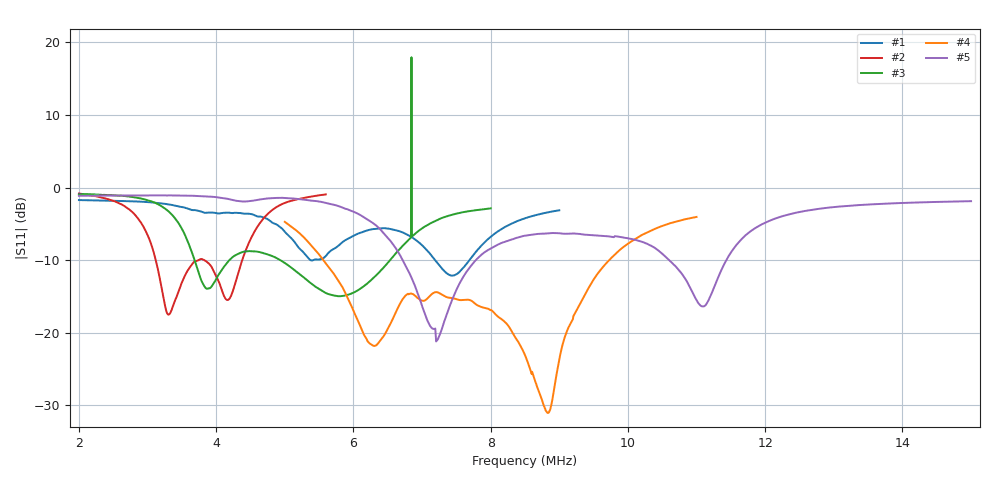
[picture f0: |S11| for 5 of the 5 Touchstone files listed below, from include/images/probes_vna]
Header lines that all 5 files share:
# Hz S RI R 50
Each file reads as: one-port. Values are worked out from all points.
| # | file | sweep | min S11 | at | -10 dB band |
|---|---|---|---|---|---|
| 1 | 724A.s1p | 2 MHz to 8.999 MHz | -12.1 dB | 7.439 MHz | 500.6 kHz wide |
| 2 | BiViPiezo.s1p | 2 MHz to 5.597 MHz | -17.5 dB | 3.308 MHz | 620.9 kHz wide |
| 3 | diasonics_50.s1p | 2 MHz to 8 MHz | -15.0 dB | 5.805 MHz | 1.6 MHz wide |
| 4 | diasonics_tr.s1p | 5 MHz to 11 MHz | -31.1 dB | 8.829 MHz | 4.165 MHz wide |
| 5 | hp2121.s1p | 2 MHz to 15 MHz | -21.2 dB | 7.205 MHz | 1.067 MHz wide |
